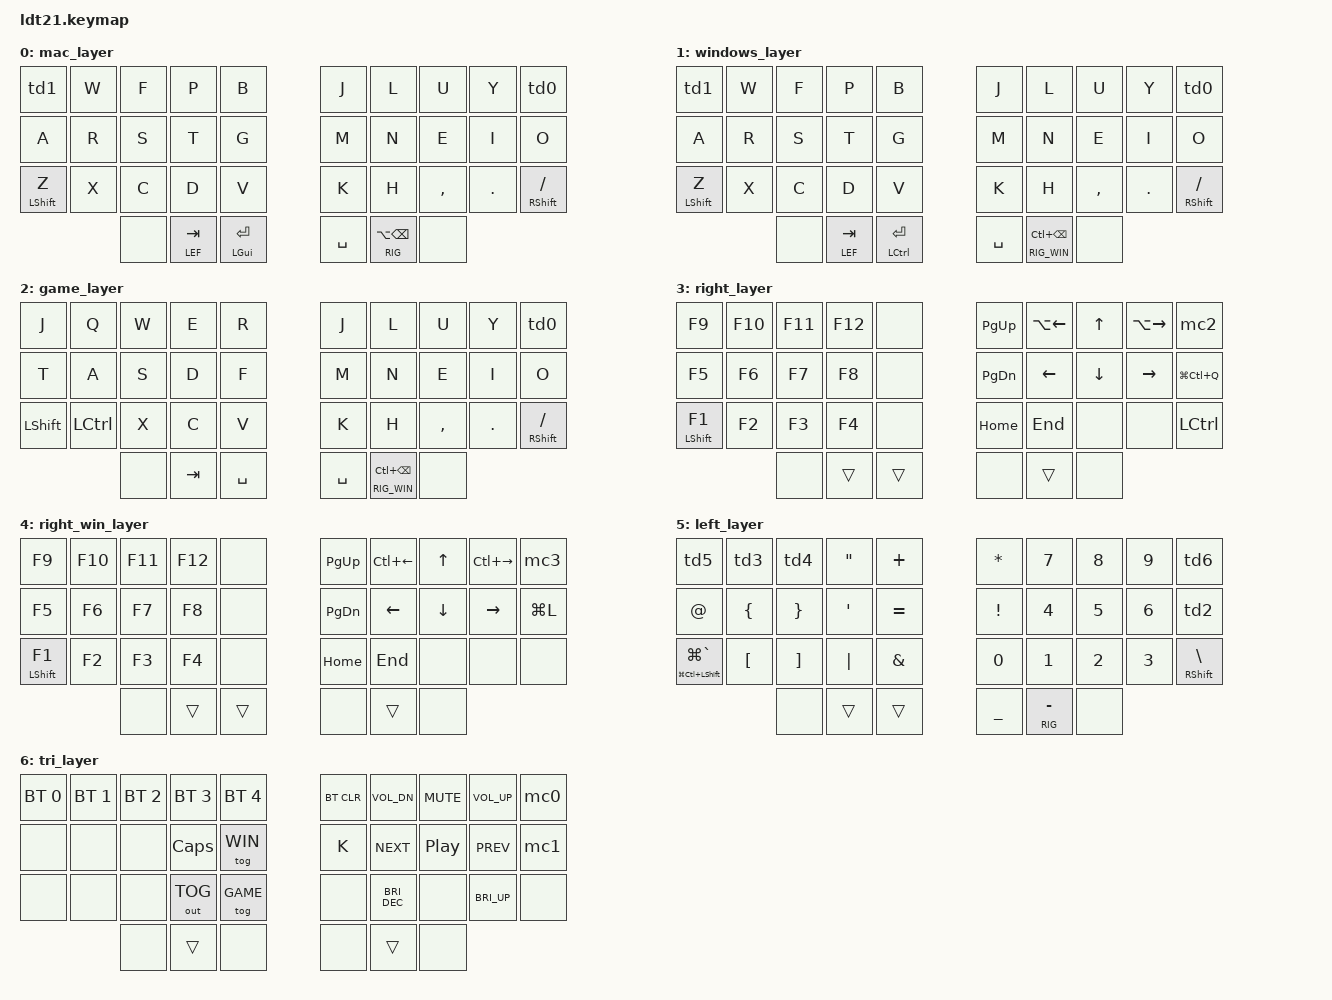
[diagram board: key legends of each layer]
/*
 * Copyright (c) 2020 The ZMK Contributors
 *
 * SPDX-License-Identifier: MIT
 */

#include <behaviors.dtsi>
#include <dt-bindings/zmk/keys.h>
#include <dt-bindings/zmk/bt.h>
#include <dt-bindings/zmk/outputs.h>

#define MAC 0
#define WIN 1
#define GAME 2
#define RIG 3
#define RIG_WIN 4
#define LEF 5
#define TRI 6

#define COMBO_TIMEOUT 50

/ {
    macros {
        mc0: mc0 {
            label = "hungnk1";
            compatible = "zmk,behavior-macro";
            wait-ms = <200>;
            #binding-cells = <0>;
            bindings
                = <&macro_tap_time 10>
                , <&macro_tap &kp H &kp U &kp N &kp G &kp N &kp K &kp N1 &kp TAB &kp A &kp B &kp C &kp AT &kp N1 &kp N0 &kp N2 &kp N5 &kp ENTER>
                ;
        };
        mc1: mc1 {
            label = "sodev";
            compatible = "zmk,behavior-macro";
            wait-ms = <200>;
            #binding-cells = <0>;
            bindings
                = <&macro_tap_time 10>
                , <&macro_tap &kp DOT &kp BSLH &kp S &kp O &kp D &kp E &kp V &kp TAB &kp A &kp B &kp C &kp TILDE &kp N1 &kp N2 &kp N3 &kp N4 &kp ENTER>
                ;
        };
        mc2: mc2 {
            label = "pw";
            compatible = "zmk,behavior-macro";
            wait-ms = <200>;
            #binding-cells = <0>;
            bindings
                = <&macro_tap_time 10>
                , <&macro_tap &kp N0 &kp N8 &kp N0 &kp N1 &kp ENTER>
                ;
        };
        mc3: mc3 {
            label = "pw_win";
            compatible = "zmk,behavior-macro";
            wait-ms = <200>;
            #binding-cells = <0>;
            bindings
             = <&macro_tap_time 10>
                , <&macro_tap &kp A &kp B &kp C &kp AT &kp N1 &kp N0 &kp N2 &kp N5 &kp ENTER>
                ;
        };
        mc4: mc4 {
            label = "next_word";
            compatible = "zmk,behavior-macro";
            #binding-cells = <0>;
            bindings
                = <&macro_press &kp LCTRL>
                , <&macro_tap &kp RIGHT>
                , <&macro_release &kp LCTRL>
                ;
        };
        mc5: mc5 {
            label = "prev_workspace";
            compatible = "zmk,behavior-macro";
            #binding-cells = <0>;
            bindings
                = <&macro_press &kp LCTRL &kp LGUI>
                , <&macro_tap &kp LEFT>
                , <&macro_release &kp LCTRL &kp LGUI>
                ;
        };
        mc6: mc6 {
            label = "next_workspace";
            compatible = "zmk,behavior-macro";
            #binding-cells = <0>;
            bindings
                = <&macro_press &kp LCTRL &kp LGUI>
                , <&macro_tap &kp RIGHT>
                , <&macro_release &kp LCTRL &kp LGUI>
                ;
        };
    };
};

/ {
    combos {
        compatible = "zmk,combos";
        combo_cw {
                timeout-ms = <COMBO_TIMEOUT>;
                key-positions = <20 21 22>;
                bindings = <&caps_word>;
        };
        combo_row {
                timeout-ms = <COMBO_TIMEOUT>;
                key-positions = <27 28 29>;
                bindings = <&kp LS(HOME)>;
        };
        combo_lalt {
                timeout-ms = <COMBO_TIMEOUT>;
                key-positions = <10 11 12>;
                bindings = <&kp LALT>;
                // layers = <1>;
        };
        combo_ralt {
                timeout-ms = <COMBO_TIMEOUT>;
                key-positions = <17 18 19>;
                bindings = <&kp RALT>;
                // layers = <1>;
        };
        combo_lgui {
                timeout-ms = <COMBO_TIMEOUT>;
                key-positions = <1 2 3>;
                bindings = <&kp LGUI>;
                // layers = <1>;
        };
        combo_rgui {
                timeout-ms = <COMBO_TIMEOUT>;
                key-positions = <6 7 8>;
                bindings = <&kp RGUI>;
                // layers = <1>;
        };
        combo_lctrl {
            timeout-ms = <COMBO_TIMEOUT>;
            key-positions = <21 22 23>;
            bindings = <&kp LCTRL>;
        };
        combo_rctrl {
            timeout-ms = <COMBO_TIMEOUT>;
            key-positions = <26 27 28>;
            bindings = <&kp RCTRL>;
        };
        combo_del {
            timeout-ms = <COMBO_TIMEOUT>;
            key-positions = <11 12 13>;
            bindings = <&kp DEL>;
        };
	    combo_bksp {
            timeout-ms = <COMBO_TIMEOUT>;
            key-positions = <16 17 18>;
            bindings = <&kp BSPC>;
        };
        /*
        combo_mac_lcmd {
                timeout-ms = <COMBO_TIMEOUT>;
                key-positions = <10 11 12>;
                bindings = <&kp LGUI>;
                layers = <0>;
        };
        combo_mac_lalt {
                timeout-ms = <COMBO_TIMEOUT>;
                key-positions = <21 22 23>;
                bindings = <&kp LALT>;
                layers = <0>;
        };
        combo_mac_ralt {
                timeout-ms = <COMBO_TIMEOUT>;
                key-positions = <26 27 28>;
                bindings = <&kp RALT>;
                layers = <0>;
        };
        combo_mac_lctrl {
                timeout-ms = <COMBO_TIMEOUT>;
                key-positions = <1 2 3>;
                bindings = <&kp LCTRL>;
                layers = <0>;
        };
        combo_mac_rctrl {
                timeout-ms = <COMBO_TIMEOUT>;
                key-positions = <6 7 8>;
                bindings = <&kp RCTRL>;
                layers = <0>;
        };
        */
    };
};

&caps_word {
	continue-list = <UNDERSCORE MINUS BACKSPACE DELETE HOME END LEFT RIGHT>;
};

/ {
    behaviors {
        ht: hold_tap {
            label = "hold_tap";
            compatible = "zmk,behavior-hold-tap";
            #binding-cells = <2>;
            flavor = "tap-preferred";
            tapping-term-ms = <200>;
            bindings = <&kp>, <&kp>;
        };
        td0: tap_dance_0 {
            compatible = "zmk,behavior-tap-dance";
            label = "TAP_DANCE_0";
            #binding-cells = <0>;
            tapping-term-ms = <300>;
            bindings = <&kp SEMI>, <&kp COLON>;
        };
        td1: tap_dance_1 {
            compatible = "zmk,behavior-tap-dance";
            label = "TAP_DANCE_1";
            #binding-cells = <0>;
            tapping-term-ms = <300>;
            bindings = <&kp Q>, <&kp ESC>;
        };
        td2: tap_dance_2 {
            compatible = "zmk,behavior-tap-dance";
            label = "TAP_DANCE_2";
            #binding-cells = <0>;
            tapping-term-ms = <300>;
            bindings = <&kp GRAVE>, <&kp TILDE>;
        };
        td3: tap_dance_3 {
            compatible = "zmk,behavior-tap-dance";
            label = "TAP_DANCE_3";
            #binding-cells = <0>;
            tapping-term-ms = <300>;
            bindings = <&kp LPAR>, <&kp LT>;
        };
        td4: tap_dance_4 {
            compatible = "zmk,behavior-tap-dance";
            label = "TAP_DANCE_4";
            #binding-cells = <0>;
            tapping-term-ms = <300>;
            bindings = <&kp RPAR>, <&kp GT>;
        };
        td5: tap_dance_5 {
            compatible = "zmk,behavior-tap-dance";
            label = "TAP_DANCE_5";
            #binding-cells = <0>;
            tapping-term-ms = <300>;
            bindings = <&kp HASH>, <&kp DLLR>;
        };
        td6: tap_dance_6 {
            compatible = "zmk,behavior-tap-dance";
            label = "TAP_DANCE_6";
            #binding-cells = <0>;
            tapping-term-ms = <300>;
            bindings = <&kp PRCNT>, <&kp CARET>;
        };
    };
};

/ {
    conditional_layers {
        compatible = "zmk,conditional-layers";
        tri_layer {
            if-layers = <RIG LEF>;
            then-layer = <TRI>;
        };
        tri_layer_win {
            if-layers = <RIG_WIN LEF>;
            then-layer = <TRI>;
        };
    };
};

/ {
    keymap {
        compatible = "zmk,keymap";

        mac_layer {
            bindings = <
        //╭──────────┬──────────┬──────────┬──────────┬──────────╮   ╭──────────┬──────────┬──────────┬──────────┬──────────╮
        //│  Q  ESC  │  W       │  F       │  P       │  B       │   │  J       │  L       │  U       │  Y       │  ; :     │
            &td1       &kp W      &kp F      &kp P      &kp B          &kp J      &kp L      &kp U      &kp Y      &td0
        //├──────────┼──────────┼──────────┼──────────┼──────────┤   ├──────────┼──────────┼──────────┼──────────┼──────────┤
        //│  A       │   R      │  S       │  T       │  G       │   │  M       │  N       │  E       │  I       │  O       │
            &kp A       &kp R     &kp S      &kp T      &kp G          &kp M      &kp N      &kp E      &kp I      &kp O
        //├──────────┼──────────┼──────────┼──────────┼──────────┤   ├──────────┼──────────┼──────────┼──────────┼──────────┤
        //│  Z       │  X       │  C       │  D       │  V       │   │  K       │  H       │ , <      │ . >      │  / ?     │
          &mt LSHIFT Z &kp X      &kp C      &kp D      &kp V          &kp K      &kp H      &kp COMMA  &kp DOT    &mt RSHIFT FSLH
        //╰──────────┴──────────┴──────────┼──────────┼──────────┤   ├──────────┼──────────┼──────────┴──────────┴──────────╯
                                  &none  &lt LEF TAB  &mt LGUI ENTER   &kp SPACE  &lt RIG LA(BSPC) &none 
        //                      ╰──────────┴──────────┴──────────╯   ╰──────────┴──────────┴──────────╯
            >;
        };

        windows_layer {
            bindings = <
        //╭──────────┬──────────┬──────────┬──────────┬──────────╮   ╭──────────┬──────────┬──────────┬──────────┬──────────╮
        //│  Q  ESC  │  W       │  F       │  P       │  B       │   │  J       │  L       │  U       │  Y       │  ; :     │
            &td1       &kp W      &kp F      &kp P      &kp B          &kp J      &kp L      &kp U      &kp Y      &td0
        //├──────────┼──────────┼──────────┼──────────┼──────────┤   ├──────────┼──────────┼──────────┼──────────┼──────────┤
        //│  A       │   R      │  S       │  T       │  G       │   │  M       │  N       │  E       │  I       │  O       │
            &kp A       &kp R     &kp S      &kp T      &kp G          &kp M      &kp N      &kp E      &kp I      &kp O
        //├──────────┼──────────┼──────────┼──────────┼──────────┤   ├──────────┼──────────┼──────────┼──────────┼──────────┤
        //│  Z       │  X       │  C       │  D       │  V       │   │  K       │  H       │ , <      │ . >      │  / ?     │
          &mt LSHIFT Z &kp X      &kp C      &kp D      &kp V          &kp K      &kp H      &kp COMMA  &kp DOT    &mt RSHIFT FSLH
        //╰──────────┴──────────┴──────────┼──────────┼──────────┤   ├──────────┼──────────┼──────────┴──────────┴──────────╯
                                  &none  &lt LEF TAB  &mt LCTRL ENTER  &kp SPACE  &lt RIG_WIN LC(BSPC) &none 
        //                      ╰──────────┴──────────┴──────────╯   ╰──────────┴──────────┴──────────╯
            >;
        };

        game_layer {
            bindings = <
        //╭──────────┬──────────┬──────────┬──────────┬──────────╮   ╭──────────┬──────────┬──────────┬──────────┬──────────╮
        //│  J       │  Q       │  W       │  E       │  R       │   │  J       │  L       │  U       │  Y       │  ; :     │
            &kp J       &kp Q      &kp W      &kp E      &kp R          &kp J      &kp L      &kp U      &kp Y      &td0
        //├──────────┼──────────┼──────────┼──────────┼──────────┤   ├──────────┼──────────┼──────────┼──────────┼──────────┤
        //│  T       │   A      │  S       │  D       │  F       │   │  M       │  N       │  E       │  I       │  O       │
            &kp T       &kp A     &kp S      &kp D      &kp F          &kp M      &kp N      &kp E      &kp I      &kp O
        //├──────────┼──────────┼──────────┼──────────┼──────────┤   ├──────────┼──────────┼──────────┼──────────┼──────────┤
        //│  LSHIFT  │  LCTRL   │  X       │  C       │  V       │   │  K       │  H       │ , <      │ . >      │  / ?     │
            &kp LSHIFT &kp LCTRL  &kp X      &kp C      &kp V          &kp K      &kp H      &kp COMMA  &kp DOT    &mt RSHIFT FSLH
        //╰──────────┴──────────┴──────────┼──────────┼──────────┤   ├──────────┼──────────┼──────────┴──────────┴──────────╯
                                  &none      &kp TAB    &kp SPACE      &kp SPACE  &lt RIG_WIN LC(BSPC) &none 
        //                      ╰──────────┴──────────┴──────────╯   ╰──────────┴──────────┴──────────╯
            >;
        };

        right_layer {
            bindings = <
        //╭──────────┬──────────┬──────────┬──────────┬──────────╮   ╭──────────┬──────────┬──────────┬──────────┬──────────╮
        //│  F9      │  F10     │  F11     │  F12     │          │   │  PG_UP   │  prv_wrd │  UP      │  nxt_wrd │          │
            &kp F9     &kp F10    &kp F11    &kp F12    &none         &kp PG_UP &kp LA(LEFT) &kp UP  &kp LA(RIGHT) &mc2         
        //├──────────┼──────────┼──────────┼──────────┼──────────┤   ├──────────┼──────────┼──────────┼──────────┼──────────┤
        //│  F5      │  F6      │  F7      │  F8      │          │   │  PG_DN   │  LEFT    │  DOWN    │  RIGHT   │          │
            &kp F5     &kp F6     &kp F7     &kp F8     &none          &kp PG_DN  &kp LEFT   &kp DOWN   &kp RIGHT  &kp LG(LC(Q))          
        //├──────────┼──────────┼──────────┼──────────┼──────────┤   ├──────────┼──────────┼──────────┼──────────┼──────────┤
        //│  F1      │  F2      │  F3      │  F4      │          │   │  HOME    │  END     │          │          │          │
        &mt LSHIFT F1  &kp F2     &kp F3     &kp F4     &none          &kp HOME   &kp END    &none      &none      &kp LCTRL    
        //╰──────────┴──────────┴──────────┼──────────┼──────────┤   ├──────────┼──────────┼──────────┴──────────┴──────────╯
                                  &none      &trans     &trans         &none      &trans     &none 
        //                      ╰──────────┴──────────┴──────────╯   ╰──────────┴──────────┴──────────╯
            >;
        };

        right_win_layer {
            bindings = <
        //╭──────────┬──────────┬──────────┬──────────┬──────────╮   ╭──────────┬──────────┬──────────┬──────────┬──────────╮
        //│  F9      │  F10     │  F11     │  F12     │          │   │  PG_UP   │  prv_wrd │  UP      │  nxt_wrd │          │
            &kp F9     &kp F10    &kp F11    &kp F12    &none         &kp PG_UP &kp LC(LEFT) &kp UP  &kp LC(RIGHT) &mc3         
        //├──────────┼──────────┼──────────┼──────────┼──────────┤   ├──────────┼──────────┼──────────┼──────────┼──────────┤
        //│  F5      │  F6      │  F7      │  F8      │          │   │  PG_DN   │  LEFT    │  DOWN    │  RIGHT   │          │
            &kp F5     &kp F6     &kp F7     &kp F8     &none          &kp PG_DN  &kp LEFT   &kp DOWN   &kp RIGHT  &kp LG(L)            
        //├──────────┼──────────┼──────────┼──────────┼──────────┤   ├──────────┼──────────┼──────────┼──────────┼──────────┤
        //│  F1      │  F2      │  F3      │  F4      │          │   │  HOME    │  END     │          │          │          │
        &mt LSHIFT F1  &kp F2     &kp F3     &kp F4     &none          &kp HOME   &kp END    &none      &none      &none     
        //╰──────────┴──────────┴──────────┼──────────┼──────────┤   ├──────────┼──────────┼──────────┴──────────┴──────────╯
                                  &none      &trans     &trans         &none      &trans     &none 
        //                      ╰──────────┴──────────┴──────────╯   ╰──────────┴──────────┴──────────╯
            >;
        };

        left_layer {
            bindings = <
        //╭──────────┬──────────┬──────────┬──────────┬──────────╮   ╭──────────┬──────────┬──────────┬──────────┬──────────╮
        //│  $  #    │  ()  <>  │  ()  <>  │  "       │  +       │   │  *       │  7       │  8       │  9       │  %  ^    │
            &td5       &td3       &td4       &kp DQT    &kp PLUS       &kp STAR   &kp N7     &kp N8     &kp N9     &td6
        //├──────────┼──────────┼──────────┼──────────┼──────────┤   ├──────────┼──────────┼──────────┼──────────┼──────────┤
        //│  @       │  {}      │  {}      │  '       │  =       |   |  !       │  4       │  5       │  6       │  ` ~     │
            &kp AT     &kp LBRC   &kp RBRC   &kp SQT    &kp EQUAL      &kp EXCL   &kp N4     &kp N5     &kp N6     &td2  
        //├──────────┼──────────┼──────────┼──────────┼──────────┤   ├──────────┼──────────┼──────────┼──────────┼──────────┤
        //│          │  []      │  []      │  |       │  &       │   │  0       │  1       │  2       │  3       │  \       │
&mt LG(LC(LSHIFT)) LG(GRAVE) &kp LBKT &kp RBKT &kp PIPE &kp AMPS       &kp N0     &kp N1     &kp N2     &kp N3     &mt RSHIFT BSLH 
        //╰──────────┴──────────┴──────────┼──────────┼──────────┤   ├──────────┼──────────┼──────────┴──────────┴──────────╯
                                  &none      &trans     &trans         &kp UNDER  &lt RIG MINUS  &none 
        //                      ╰──────────┴──────────┴──────────╯   ╰──────────┴──────────┴──────────╯
            >;
        };

        tri_layer {
            bindings = <
        //╭──────────┬──────────┬──────────┬──────────┬──────────╮   ╭──────────┬──────────┬──────────┬──────────┬──────────╮
        //│PROFILE 0 │PROFILE 1 │PROFILE 2 │PROFILE 3 │PROFILE 4 │   │CLEAR BT  │ VOL DOWN │ VOL MUTE │  VOL UP  │          │
    &bt BT_SEL 0 &bt BT_SEL 1 &bt BT_SEL 2 &bt BT_SEL 3 &bt BT_SEL 4 &bt BT_CLR &kp C_VOL_DN &kp C_MUTE &kp C_VOL_UP &mc0
        //├──────────┼──────────┼──────────┼──────────┼──────────┤   ├──────────┼──────────┼──────────┼──────────┼──────────┤
        //│          │          │          │ CAPSLOCK │  WIN     │   │  K       │ NEXTSONG │PAUSEMUSIC│ PREVSONG │          │
            &none      &none      &none   &kp CAPSLOCK  &tog WIN       &kp K    &kp C_NEXT &kp C_PP   &kp C_PREV    &mc1
        //├──────────┼──────────┼──────────┼──────────┼──────────┤   ├──────────┼──────────┼──────────┼──────────┼──────────┤
        //│          │          │          │TOGGLEOUT │  GAME    │   │          │DEC BRIGHT│          |INC BRIGHT│          │
            &none      &none      &none  &out OUT_TOG   &tog GAME      &none    &kp C_BRI_DEC &none   &kp C_BRI_UP  &none
        //╰──────────┴──────────┴──────────┼──────────┼──────────┤   ├──────────┼──────────┼──────────┴──────────┴──────────╯
                                  &none      &trans     &none          &none      &trans      &none 
        //                      ╰──────────┴──────────┴──────────╯   ╰──────────┴──────────┴──────────╯
            >;
        };
    };
};
